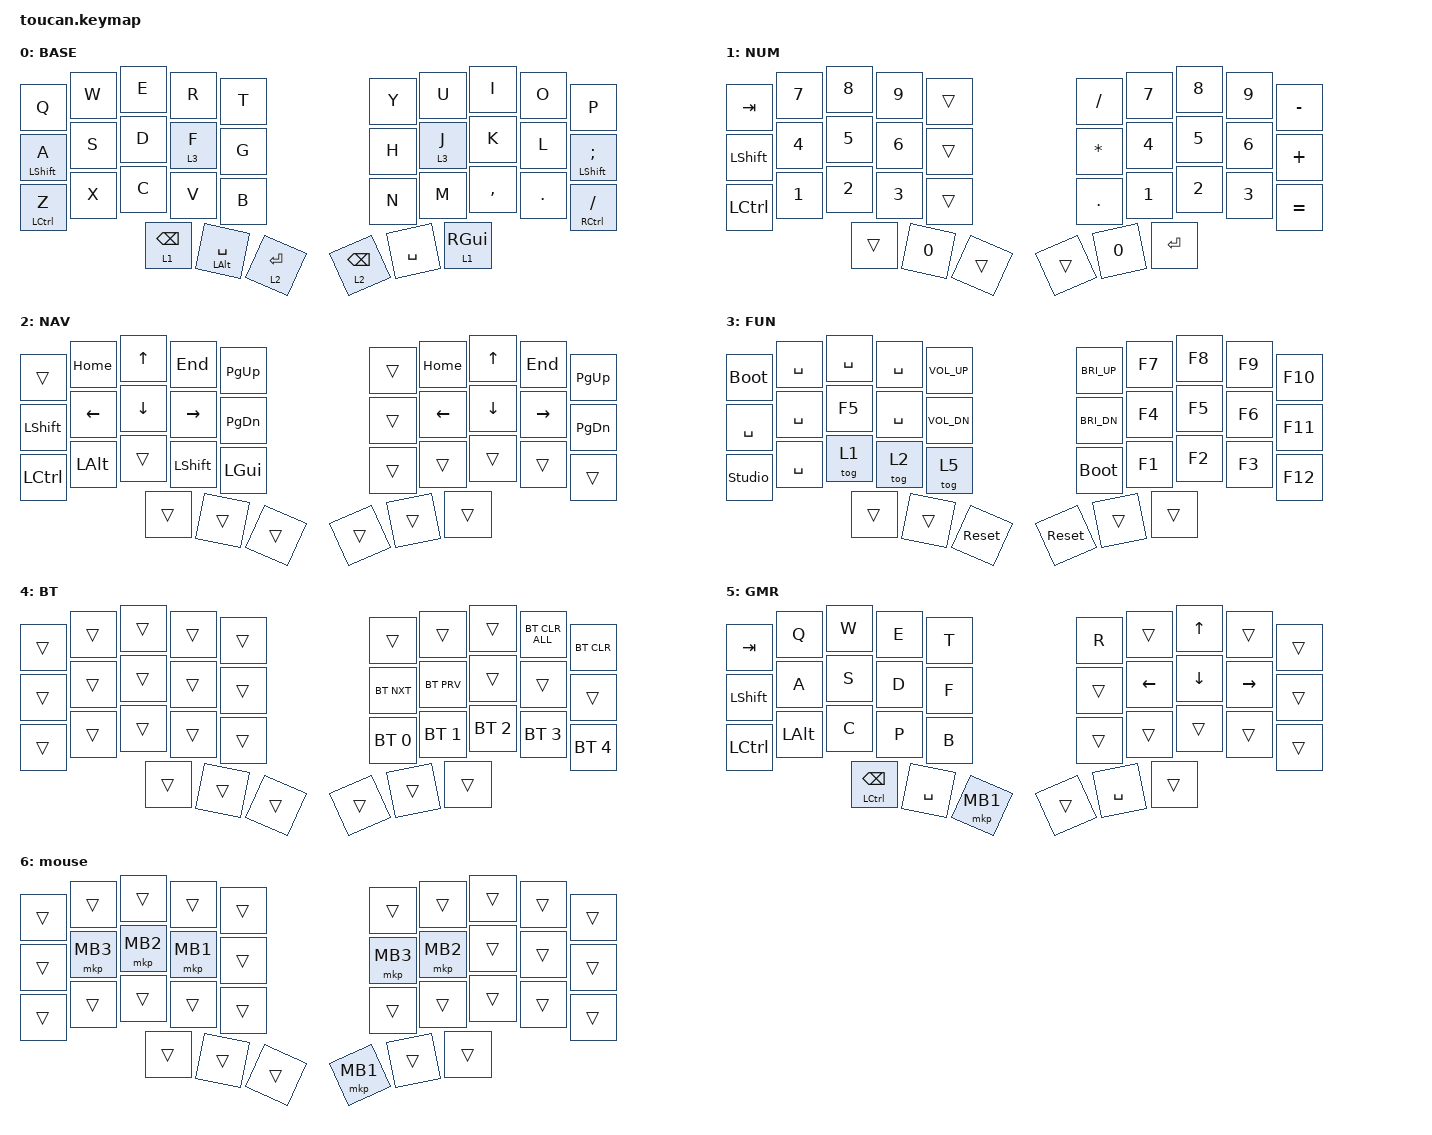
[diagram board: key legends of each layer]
#include <behaviors.dtsi>
#include <dt-bindings/zmk/bt.h>
#include <dt-bindings/zmk/keys.h>
#include <dt-bindings/zmk/pointing.h>

#define BASE 0
#define NUM  1
#define NAV  2
#define FUN  3

&mt {
    flavor = "balanced";
    retro-tap;
    require-prior-idle-ms = <100>;
    quick-tap-ms = <150>;
};

&lt {
    quick-tap-ms = <200>;
    require-prior-idle-ms = <150>;
};

/ {
    // conditional_layers {
    //     compatible = "zmk,conditional-layers";
    //     tri_layer {
    //         if-layers = <1 2>;
    //         then-layer = <3>;
    //     };
    // };

    behaviors {
        td_caps: td_caps {
            compatible = "zmk,behavior-tap-dance";
            label = "TD_CAPS";
            #binding-cells = <0>;
            bindings = <&kp A>, <&kp CAPS>;

            tapping-term-ms = <300>;
        };

        new_behavior: new_behavior {
            compatible = "zmk,behavior-mouse-key-press";
            label = "NEW_BEHAVIOR";
            #binding-cells = <1>;
        };
    };

    combos {
        compatible = "zmk,combos";

        qw_tab {
            bindings = <&kp TAB>;
            key-positions = <0 1>;
        };

        op_del {
            bindings = <&kp DEL>;
            key-positions = <8 9>;
        };

        er_bracket {
            bindings = <&kp LEFT_BRACKET>;
            key-positions = <3 2>;
            layers = <0 1>;
        };

        rt_bracket {
            bindings = <&kp RIGHT_BRACKET>;
            key-positions = <3 4>;
            layers = <0 1 2>;
        };

        df_par {
            bindings = <&kp LEFT_PARENTHESIS>;
            key-positions = <13 12>;
            layers = <0 1>;
        };

        fg_par {
            bindings = <&kp RIGHT_PARENTHESIS>;
            key-positions = <13 14>;
            layers = <0 1>;
        };

        klenter {
            bindings = <&kp ENTER>;
            key-positions = <18 17>;
            layers = <0 1 2>;
        };

        jk- {
            bindings = <&kp MINUS>;
            key-positions = <16 17>;
            layers = <0 1>;
        };

        hj_tilde {
            bindings = <&kp TILDE>;
            key-positions = <15 16>;
            layers = <0 1>;
        };

        yu_apo {
            bindings = <&kp APOS>;
            key-positions = <6 5>;
            layers = <0 1>;
        };

        ui_quote {
            bindings = <&kp DOUBLE_QUOTES>;
            key-positions = <6 7>;
            layers = <0 1>;
        };

        we_esc {
            bindings = <&kp ESCAPE>;
            key-positions = <1 2 3>;
        };

        qwe_grav {
            bindings = <&kp GRAVE>;
            key-positions = <0 1 2>;
        };

        psembspipe {
            bindings = <&kp BACKSLASH>;
            key-positions = <9 19>;
        };

        BT {
            bindings = <&mo 4>;
            key-positions = <24 4>;
        };

        as_caps {
            bindings = <&caps_word>;
            key-positions = <11 10>;
            layers = <0>;
        };

        zx_undo {
            bindings = <&kp LC(Z)>;
            key-positions = <20 21>;
        };

        ohm {
            bindings = <&ohm>;
            key-positions = <15 8>;
        };

        pi {
            bindings = <&pi>;
            key-positions = <9 7>;
        };

        mu {
            bindings = <&mu>;
            key-positions = <26 6>;
        };

        GMR {
            bindings = <&tog 5>;
            key-positions = <4 14 26>;
        };

        mid_click {
            bindings = <&mkp MCLK>;
            key-positions = <11 12 13>;
        };

        base_layer {
            bindings = <&to 0>;
            key-positions = <10 11 13 12>;
        };

        click {
            bindings = <&mkp MB1>;
            key-positions = <15 16>;
            layers = <2>;
        };

        rclick {
            bindings = <&mkp RCLK>;
            key-positions = <16 17>;
            layers = <2>;
        };

        back {
            bindings = <&mkp MB4>;
            key-positions = <6 5>;
            layers = <2>;
        };

        fwd {
            bindings = <&mkp MB5>;
            key-positions = <6 7>;
            layers = <2>;
        };

        midclick {
            bindings = <&mkp MCLK>;
            key-positions = <16 15 17>;
            layers = <2>;
        };

        clk {
            bindings = <&mkp MB1>;
            key-positions = <15 5>;
        };

        rclk {
            bindings = <&mkp MB2>;
            key-positions = <6 16>;
        };

        mclk {
            bindings = <&mkp MCLK>;
            key-positions = <17 7>;
        };

        clk_lh {
            bindings = <&mkp LCLK>;
            key-positions = <13 3>;
            layers = <0 2 1>;
        };

        rclk_lh {
            bindings = <&mkp RCLK>;
            key-positions = <12 2>;
            layers = <0 2 1>;
        };

        mclk_lh {
            bindings = <&mkp MCLK>;
            key-positions = <11 1>;
            layers = <0 2 1>;
        };
    };

    macros {
        ohm: ohm {
            compatible = "zmk,behavior-macro";
            #binding-cells = <0>;
            bindings = <&macro_tap>, <&kp N0 &kp N9 &kp N5 &kp NUMBER_6>;

            label = "OHM";
        };

        mu: mu {
            compatible = "zmk,behavior-macro";
            #binding-cells = <0>;
            bindings = <&macro_tap>, <&kp N0 &kp N9 &kp N3 &kp N7>;

            label = "MU";
        };

        pi: pi {
            compatible = "zmk,behavior-macro";
            #binding-cells = <0>;
            bindings = <&macro_tap>, <&kp N0 &kp N9 &kp NUMBER_6 &kp N0>;

            label = "PI";
        };
    };

    keymap {
        compatible = "zmk,keymap";

        base {
            display-name = "BASE";
            bindings = <
&kp Q  &kp W  &kp E  &kp R  &kp T  &kp Y  &kp U  &kp I  &kp O  &kp P  &mt LEFT_SHIFT A  &kp S  &kp D  &lt 3 F  &kp G  &kp H  &lt 3 J  &kp K  &kp L  &mt LEFT_SHIFT SEMI  &mt LCTRL Z  &kp X  &kp C  &kp V  &kp B  &kp N  &kp M  &kp COMMA  &kp DOT  &mt RCTRL FSLH  &lt 1 BACKSPACE  &mt LEFT_ALT SPACE  &lt 2 ENTER  &lt 2 BACKSPACE  &kp SPACE  &lt 1 RIGHT_GUI
            >;
        };

        NUM {
            display-name = "NUM";
            bindings = <
&kp TAB  &kp N7  &kp N8  &kp N9  &trans  &kp FSLH  &kp N7  &kp N8  &kp N9  &kp MINUS  &kp LEFT_SHIFT  &kp N4  &kp N5  &kp N6  &trans  &kp STAR  &kp N4  &kp N5  &kp N6  &kp PLUS  &kp LCTRL  &kp N1  &kp N2  &kp N3  &trans  &kp DOT  &kp N1  &kp N2  &kp N3  &kp EQUAL  &trans  &kp N0  &trans  &trans  &kp N0  &kp RET
            >;
        };

        NAV {
            display-name = "NAV";
            bindings = <
&trans  &kp HOME  &kp UP  &kp END  &kp PAGE_UP  &trans  &kp HOME  &kp UP  &kp END  &kp PG_UP  &kp LEFT_SHIFT  &kp LEFT  &kp DOWN  &kp RIGHT  &kp PAGE_DOWN  &trans  &kp LEFT  &kp DOWN  &kp RIGHT  &kp PG_DN  &kp LEFT_CONTROL  &kp LEFT_ALT  &trans  &kp LEFT_SHIFT  &kp LEFT_GUI  &trans  &trans  &trans  &trans  &trans  &trans  &trans  &trans  &trans  &trans  &trans
            >;
        };

        FUN {
            display-name = "FUN";
            bindings = <
&bootloader  &kp SPACE  &kp SPACE  &kp SPACE  &kp C_VOL_UP  &kp C_BRI_UP  &kp F7  &kp F8  &kp F9  &kp F10  &kp SPACE  &kp SPACE  &kp F5  &kp SPACE  &kp C_VOL_DN  &kp C_BRI_DN  &kp F4  &kp F5  &kp F6  &kp F11  &studio_unlock  &kp SPACE  &tog 1  &tog 2  &tog 5  &bootloader  &kp F1  &kp F2  &kp F3  &kp F12  &trans  &trans  &sys_reset  &sys_reset  &trans  &trans
            >;
        };

        BT {
            display-name = "BT";
            bindings = <
&trans  &trans  &trans  &trans  &trans  &trans  &trans  &trans  &bt BT_CLR_ALL  &bt BT_CLR  &trans  &trans  &trans  &trans  &trans  &bt BT_NXT  &bt BT_PRV  &trans  &trans  &trans  &trans  &trans  &trans  &trans  &trans  &bt BT_SEL 0  &bt BT_SEL 1  &bt BT_SEL 2  &bt BT_SEL 3  &bt BT_SEL 4  &trans  &trans  &trans  &trans  &trans  &trans
            >;
        };

        GMR {
            display-name = "GMR";
            bindings = <
&kp TAB  &kp Q  &kp W  &kp E  &kp T  &kp R  &trans  &kp UP_ARROW  &trans  &trans  &kp LSHFT  &kp A  &kp S  &kp D  &kp F  &trans  &kp LEFT_ARROW  &kp DOWN_ARROW  &kp RIGHT_ARROW  &trans  &kp LCTRL  &kp LEFT_ALT  &kp C  &kp P  &kp B  &trans  &trans  &trans  &trans  &trans  &mt LCTRL BACKSPACE  &kp SPACE  &mkp MB1  &trans  &kp SPACE  &trans
            >;
        };

        mouse {
            bindings = <
&trans  &trans  &trans  &trans  &trans  &trans  &trans  &trans  &trans  &trans  &trans  &mkp MB3  &mkp MB2  &mkp MB1  &trans  &mkp MB3  &mkp MB2  &trans  &trans  &trans  &trans  &trans  &trans  &trans  &trans  &trans  &trans  &trans  &trans  &trans  &trans  &trans  &trans  &mkp MB1  &trans  &trans
            >;
        };

        extra_1 { status = "reserved"; };

        extra_2 { status = "reserved"; };

        extra_3 { status = "reserved"; };
    };
};
